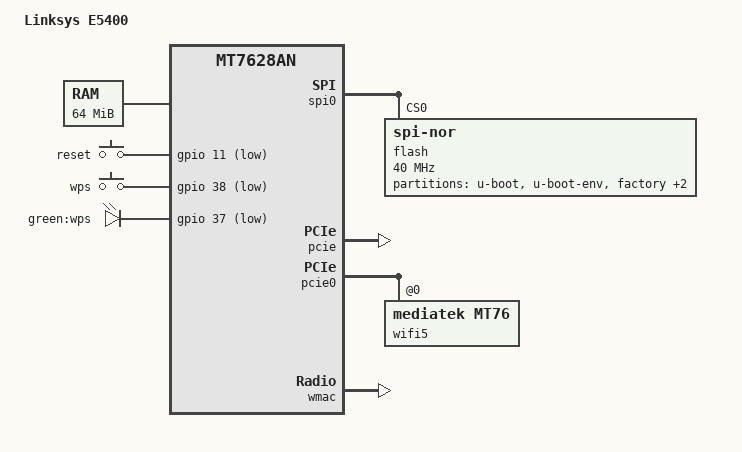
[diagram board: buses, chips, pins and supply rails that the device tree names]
// SPDX-License-Identifier: GPL-2.0-or-later OR MIT

#include "mt7628an.dtsi"

#include <dt-bindings/gpio/gpio.h>
#include <dt-bindings/input/input.h>

/ {
	compatible = "linksys,e5400", "mediatek,mt7628an-soc";
	model = "Linksys E5400";

	aliases {
		led-boot = &led_wps;
		led-failsafe = &led_wps;
		led-running = &led_wps;
		led-upgrade = &led_wps;
		label-mac-device = &ethernet;
	};

	chosen {
		bootargs = "console=ttyS0,115200";
	};

	memory@0 {
		device_type = "memory";
		reg = <0x0 0x4000000>;
	};

	keys {
		compatible = "gpio-keys";

		reset {
			label = "reset";
			gpios = <&gpio 11 GPIO_ACTIVE_LOW>;
			linux,code = <KEY_RESTART>;
		};

		wps {
			label = "wps";
			gpios = <&gpio 38 GPIO_ACTIVE_LOW>;
			linux,code = <KEY_WPS_BUTTON>;
		};
	};

	leds {
		compatible = "gpio-leds";

		led_wps: wps {
			label = "green:wps";
			gpios = <&gpio 37 GPIO_ACTIVE_LOW>;
		};
	};
};

&spi0 {
	status = "okay";

	flash@0 {
		compatible = "jedec,spi-nor";
		reg = <0>;
		spi-max-frequency = <40000000>;

		partitions {
			compatible = "fixed-partitions";
			#address-cells = <1>;
			#size-cells = <1>;

			partition@0 {
				label = "u-boot";
				reg = <0x0 0x30000>;
				read-only;
			};

			partition@30000 {
				label = "u-boot-env";
				reg = <0x30000 0x10000>;
				read-only;
			};

			factory: partition@40000 {
				label = "factory";
				reg = <0x40000 0x10000>;
				read-only;

				compatible = "nvmem-cells";
				#address-cells = <1>;
				#size-cells = <1>;

				macaddr_factory_28: macaddr@28 {
					reg = <0x28 0x6>;
				};
			};

			partition@50000 {
				compatible = "denx,uimage";
				label = "firmware";
				reg = <0x50000 0xfa0000>;
			};

			partition@ff0000 {
				label = "cbtinfo";
				reg = <0xff0000 0x10000>;
				read-only;
			};
		};
	};
};

&ehci {
	status = "disabled";
};

&esw {
	mediatek,portmap = <0x2f>;
	mediatek,portdisable = <0x20>;
};

&ethernet {
	nvmem-cells = <&macaddr_factory_28>;
	nvmem-cell-names = "mac-address";
};

&ohci {
	status = "disabled";
};

&pcie {
	status = "okay";
};

&pcie0 {
	wifi5: wifi@0,0 {
		compatible = "mediatek,mt76";
		reg = <0x0000 0 0 0 0>;
		mediatek,mtd-eeprom = <&factory 0x8000>;
		ieee80211-freq-limit = <5000000 6000000>;

		nvmem-cells = <&macaddr_factory_28>;
		nvmem-cell-names = "mac-address";
		mac-address-increment = <3>;
	};
};

&state_default {
	gpio {
		group = "gpio", "i2c", "i2s", "refclk", "uart1", "wdt", "wled_an";
		function = "gpio";
	};
};

&usbphy {
	status = "disabled";
};

&wmac {
	status = "okay";

	mediatek,mtd-eeprom = <&factory 0x0>;
	nvmem-cells = <&macaddr_factory_28>;
	nvmem-cell-names = "mac-address";
	mac-address-increment = <2>;
};

